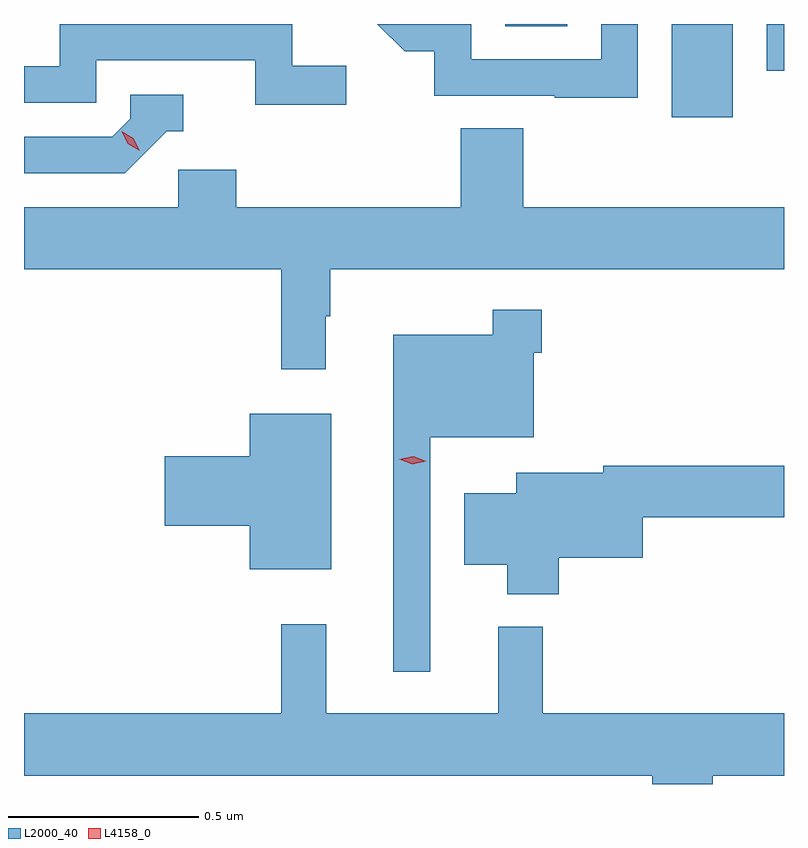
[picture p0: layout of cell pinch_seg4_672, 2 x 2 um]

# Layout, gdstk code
import gdstk
lib = gdstk.Library(unit=1e-6, precision=1e-09)
def R(c, l, rs):  # rectangles x0, y0, x1, y1
    for r in rs: c.add(gdstk.rectangle(r[:2], r[2:], *l))
def P(c, l, *ps):  # polygons
    for p in ps: c.add(gdstk.Polygon(p, *l))
L2000_40 = (2000, 40)
L4158_0 = (4158, 0)

pinch_seg4_672 = lib.new_cell('pinch_seg4_672')
R(pinch_seg4_672, L2000_40, [(1135.496,767.916,1135.657,768.162), (1135.746,768.039,1135.792,768.162), (1135.058,768.156,1135.222,768.162)])
P(pinch_seg4_672, L2000_40, [(1134.64,768.052),(1134.498,768.052),(1134.498,768.162),(1133.886,768.162),(1133.886,768.051),(1133.792,768.051),(1133.792,767.955),(1133.982,767.955),(1133.982,768.066),(1134.401,768.066),(1134.401,767.95),(1134.64,767.95)],
  [(1135.407,768.162),(1135.311,768.162),(1135.311,768.069),(1134.969,768.069),(1134.969,768.162),(1134.722,768.162),(1134.794,768.09),(1134.871,768.09),(1134.871,767.973),(1135.189,767.973),(1135.189,767.968),(1135.407,767.968)],
  [(1134.168,767.88),(1134.211,767.88),(1134.211,767.976),(1134.072,767.976),(1134.072,767.913),(1134.024,767.865),(1133.792,767.865),(1133.792,767.769),(1134.057,767.769)],
  [(1134.586,767.393),(1134.598,767.393),(1134.598,767.516),(1135.792,767.516),(1135.792,767.68),(1135.106,767.68),(1135.106,767.888),(1134.941,767.888),(1134.941,767.68),(1134.35,767.68),(1134.35,767.778),(1134.198,767.778),(1134.198,767.68),(1133.792,767.68),(1133.792,767.516),(1134.469,767.516),(1134.469,767.253),(1134.586,767.253)],
  [(1134.861,767.075),(1135.134,767.075),(1135.134,767.297),(1135.154,767.297),(1135.154,767.41),(1135.026,767.41),(1135.026,767.344),(1134.764,767.344),(1134.764,766.458),(1134.861,766.458)],
  [(1134.601,767.137),(1134.386,767.137),(1134.386,767.024),(1134.162,767.024),(1134.162,766.841),(1134.386,766.841),(1134.386,766.727),(1134.601,766.727)],
  [(1135.199,766.757),(1135.42,766.757),(1135.42,766.864),(1135.792,766.864),(1135.792,767),(1135.316,767),(1135.316,766.981),(1135.088,766.981),(1135.088,766.927),(1134.95,766.927),(1134.95,766.739),(1135.064,766.739),(1135.064,766.661),(1135.199,766.661)],
  [(1135.605,766.184),(1135.792,766.184),(1135.792,766.348),(1135.157,766.348),(1135.157,766.576),(1135.04,766.576),(1135.04,766.348),(1134.587,766.348),(1134.587,766.582),(1134.469,766.582),(1134.469,766.348),(1133.792,766.348),(1133.792,766.184),(1135.445,766.184),(1135.445,766.162),(1135.605,766.162)])
P(pinch_seg4_672, L4158_0, [(1134.814,767.004),(1134.78,767.016),(1134.779,767.017),(1134.78,767.017),(1134.816,767.024),(1134.851,767.012),(1134.851,767.012),(1134.851,767.012)],
  [(1134.096,767.828),(1134.065,767.847),(1134.049,767.88),(1134.049,767.88),(1134.049,767.88),(1134.08,767.861),(1134.096,767.828),(1134.096,767.828)])

lib.write_gds('pinch_seg4_672.gds')
